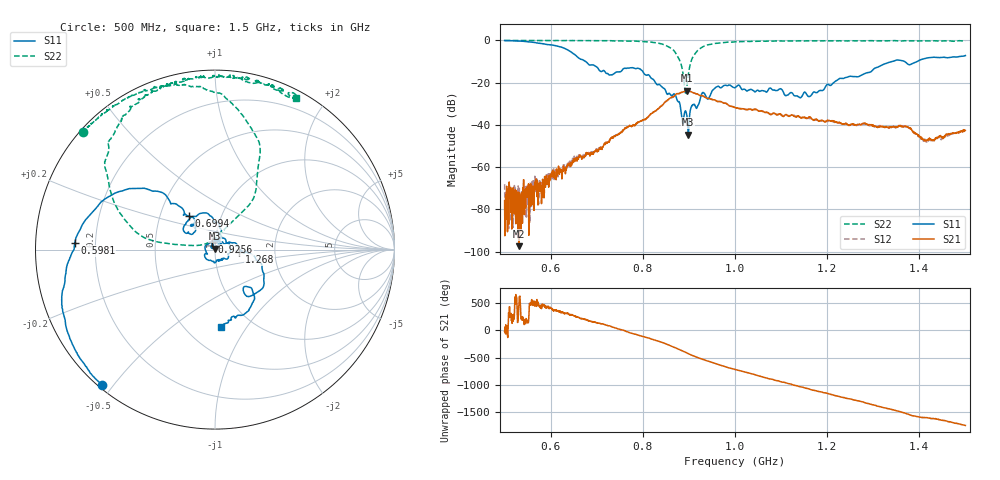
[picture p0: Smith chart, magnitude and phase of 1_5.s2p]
!Agilent Technologies,E8364B,US42250235,A.06.04.32
!Agilent E8364B: A.06.04.32
!Date: Friday, January 15, 2021 14:52:33
!Correction: S11(Full 2 Port(1,2)) S21(Full 2 Port(1,2)) S12(Full 2 Port(1,2)) S22(Full 2 Port(1,2))
!S2P File: Measurements: S11, S21, S12, S22:
# Hz S  dB  R 50
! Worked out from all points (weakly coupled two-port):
!   1601 points, 500 MHz to 1.5 GHz, reference 50 ohm
!   highest |S21| = -23.84 dB at 895.6 MHz (marker M1); lowest = -97.4 dB at 530.6 MHz (marker M2)
!   lowest |S11| = -44.6 dB at 898.8 MHz (marker M3), VSWR 1.01, Z = 49.8 + j0.565 ohm
!   |S11| at or under -10 dB: 675.3 MHz to 1.343 GHz (668.1 MHz wide, 66.2 % of centre); 1.368 GHz to 1.396 GHz (28.23 MHz wide, 2.04 % of centre)
!   |S22| runs from -25.8 to -0.1 dB; largest |S21 - S12| = 0.0041
!   S11 on the Smith chart (normalised r, x): 500 MHz: 0.01, -0.47; 598.1 MHz: 0.12, +0.02; 699.4 MHz: 0.70, +0.28; 925.6 MHz: 0.96, +0.08; 1.268 GHz: 1.32, -0.03; 1.5 GHz: 0.73, -0.77
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5e8  -0.15 -129.8  -75.87 -22.9  -68.04 -59.5  -0.13 138.5
5.05625e8  -0.17 -132.3  -71.65 -80.0  -79.08 -80.0  -0.15 138.0
5.30625e8  -0.36 -144.4  -97.38 85.8  -71.22 177.6  -0.14 135.5
5.78125e8  -1.51 -171.2  -71.00 42.3  -68.59 113.6  -0.15 130.9
5.98125e8  -2.14 177.2  -65.53 66.0  -64.54 24.7  -0.16 129.8
6.35e8  -4.36 146.9  -59.44 -52.3  -61.20 -61.6  -0.17 125.4
6.66875e8  -9.03 133.9  -55.44 -152.8  -55.31 -153.9  -0.19 121.6
6.99375e8  -12.56 127.9  -52.36 134.0  -51.92 130.7  -0.20 118.2
7.30625e8  -16.39 142.1  -46.55 69.8  -46.70 63.5  -0.23 113.9
7.9125e8  -13.36 107.7  -38.78 -93.4  -38.71 -97.8  -0.55 102.8
8.3375e8  -20.96 78.1  -32.43 159.2  -32.42 154.5  -1.35 86.6
8.7e8  -25.76 48.5  -25.92 43.7  -26.12 39.8  -5.69 62.4
8.95625e8  -35.66 50.9  -23.84 -55.0  -23.95 -57.3  -21.60 162.2
8.9875e8  -44.61 105.4  -23.94 -68.1  -23.93 -71.1  -16.12 171.3
9.08125e8  -30.50 131.8  -24.70 -103.2  -24.76 -105.7  -8.12 170.7
9.25625e8  -26.80 111.0  -26.18 -158.2  -26.15 -161.7  -3.71 152.0
1e9  -22.48 -18.2  -31.84 4.5  -31.69 1.6  -0.76 120.8
1.166875e9  -25.56 49.3  -37.29 -10.3  -37.19 -12.3  -0.36 97.2
1.2675e9  -17.27 -5.3  -39.86 152.0  -39.90 146.3  -0.29 87.7
1.33375e9  -10.51 -25.5  -41.31 5.6  -41.47 9.8  -0.31 79.2
1.41375e9  -8.50 -58.0  -47.58 -157.5  -47.39 -155.6  -0.29 72.0
1.5e9  -7.26 -85.4  -42.65 61.0  -42.95 64.8  -0.37 62.0
